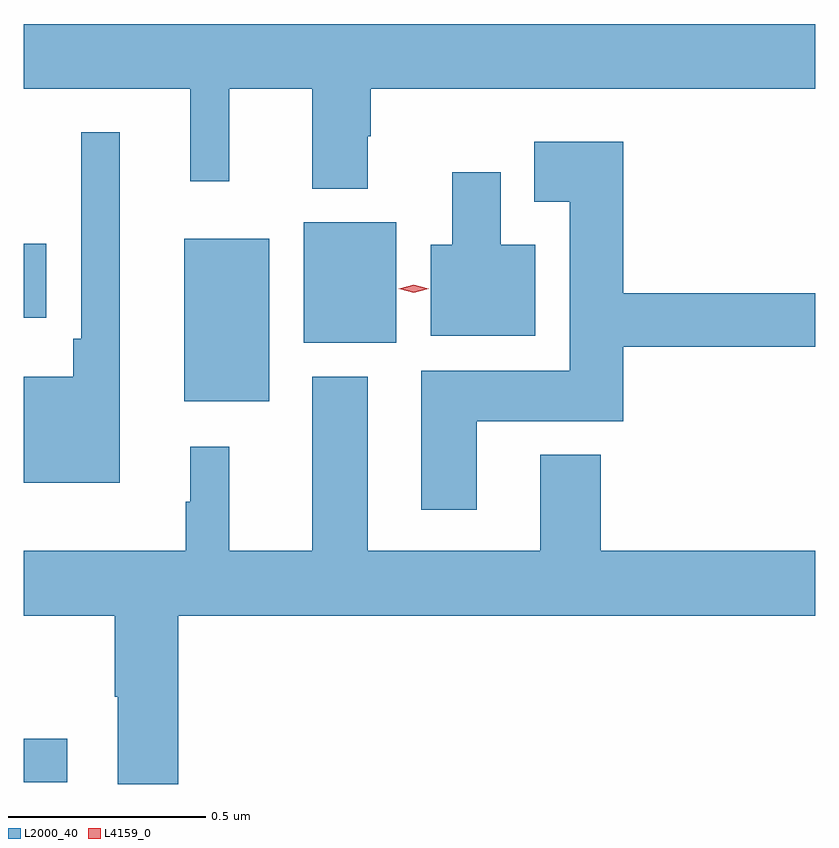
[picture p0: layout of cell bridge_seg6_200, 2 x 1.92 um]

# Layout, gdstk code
import gdstk
lib = gdstk.Library(unit=1e-6, precision=1e-09)
def R(c, l, rs):  # rectangles x0, y0, x1, y1
    for r in rs: c.add(gdstk.rectangle(r[:2], r[2:], *l))
def P(c, l, *ps):  # polygons
    for p in ps: c.add(gdstk.Polygon(p, *l))
L2000_40 = (2000, 40)
L4159_0 = (4159, 0)

bridge_seg6_200 = lib.new_cell('bridge_seg6_200')
R(bridge_seg6_200, L2000_40, [(251.006,942.92,251.116,943.03), (251.411,943.883,251.626,944.293), (251.714,944.03,251.947,944.335), (251.006,944.093,251.062,944.281)])
P(bridge_seg6_200, L2000_40, [(251.875,944.552),(251.883,944.552),(251.883,944.672),(253.006,944.672),(253.006,944.836),(251.006,944.836),(251.006,944.672),(251.426,944.672),(251.426,944.439),(251.525,944.439),(251.525,944.672),(251.735,944.672),(251.735,944.42),(251.875,944.42)],
  [(251.248,944.563),(251.151,944.563),(251.151,944.041),(251.131,944.041),(251.131,943.945),(251.006,943.945),(251.006,943.676),(251.248,943.676)],
  [(252.151,943.832),(252.521,943.832),(252.521,944.02),(253.006,944.02),(253.006,944.156),(252.521,944.156),(252.521,944.539),(252.296,944.539),(252.296,944.387),(252.386,944.387),(252.386,943.96),(252.011,943.96),(252.011,943.608),(252.151,943.608)],
  [(252.298,944.278),(252.211,944.278),(252.211,944.461),(252.089,944.461),(252.089,944.278),(252.035,944.278),(252.035,944.048),(252.298,944.048)],
  [(251.396,943.34),(253.006,943.34),(253.006,943.504),(252.464,943.504),(252.464,943.747),(252.311,943.747),(252.311,943.504),(251.875,943.504),(251.875,943.945),(251.735,943.945),(251.735,943.504),(251.525,943.504),(251.525,943.768),(251.426,943.768),(251.426,943.628),(251.415,943.628),(251.415,943.504),(251.006,943.504),(251.006,943.34),(251.236,943.34),(251.236,943.136),(251.243,943.136),(251.243,942.915),(251.396,942.915)])
P(bridge_seg6_200, L4159_0, [(251.991,944.157),(251.953,944.167),(251.952,944.167),(251.953,944.167),(251.991,944.177),(252.029,944.167),(252.03,944.167),(252.029,944.167)])

lib.write_gds('bridge_seg6_200.gds')
